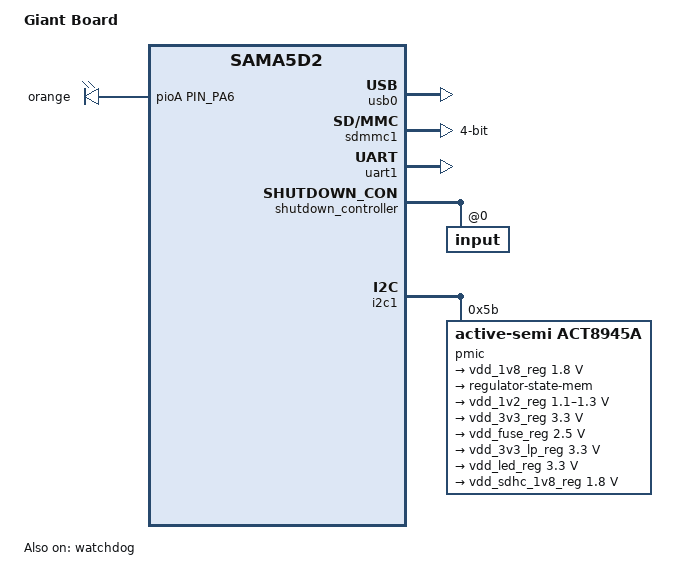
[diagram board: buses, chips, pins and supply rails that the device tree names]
// SPDX-License-Identifier: GPL-2.0-or-later OR X11
/*
 * at91-sama5d27_giantboard.dts - Device Tree file for SAMA5D27 Giant Board
 *
 *  Copyright (c) 2017, Microchip Technology Inc.
 *                2016 Nicolas Ferre <nicolas.ferre@atmel.com>
 *                2017 Cristian Birsan <cristian.birsan@microchip.com>
 *                2017 Claudiu Beznea <claudiu.beznea@microchip.com>
 *                2019 Ahmad Fatoum <a.fatoum@pengutronix.de>
 */

/dts-v1/;

#include <arm/microchip/sama5d2.dtsi>
#include <arm/microchip/sama5d2-pinfunc.h>
#include <dt-bindings/mfd/atmel-flexcom.h>
#include <dt-bindings/gpio/gpio.h>
#include <dt-bindings/regulator/active-semi,8945a-regulator.h>

#include "sama5d2.dtsi"

/ {
	model = "Giant Board";
	compatible = "groboards,sama5d27-giantboard", "atmel,sama5d27", "atmel,sama5d2", "atmel,sama5";
	barebox,disable-deep-probe;

	chosen {
		stdout-path = &uart1;

		environment {
			compatible = "barebox,environment";
			device-path = &sdmmc1;
			file-path = "barebox.env";
		};
	};

	leds {
		compatible = "gpio-leds";
		pinctrl-names = "default";
		pinctrl-0 = <&pinctrl_led_gpio_default>;

		orange {
			label = "orange";
			gpios = <&pioA PIN_PA6 GPIO_ACTIVE_HIGH>;
			linux,default-trigger = "mmc0";
		};
	};
};

&slow_xtal {
	clock-frequency = <32768>;
};

&main_xtal {
	clock-frequency = <24000000>;
};

&usb0 {
	status = "okay";
};

&sdmmc1 {
	bus-width = <4>;
	pinctrl-names = "default";
	pinctrl-0 = <&pinctrl_sdmmc1_default>;
	status = "okay";
};

&spi0 {
	pinctrl-names = "default";
	pinctrl-0 = <&pinctrl_spi0_default>;
	status = "disabled";
};

&uart1 {
	pinctrl-names = "default";
	pinctrl-0 = <&pinctrl_uart1_default>;
	atmel,use-dma-rx;
	atmel,use-dma-tx;
	status = "okay";
};

&shutdown_controller {
	atmel,shdwc-debouncer = <976>;
	atmel,wakeup-rtc-timer;

	input@0 {
		reg = <0>;
		atmel,wakeup-type = "low";
	};
};

&watchdog {
	status = "okay";
};

&i2c0 {
	pinctrl-names = "default";
	pinctrl-0 = <&pinctrl_i2c0_default>;
	dmas = <0>, <0>;
};

&i2c1 {
	pinctrl-names = "default";
	pinctrl-0 = <&pinctrl_i2c1_default>;
	dmas = <0>, <0>;
	i2c-sda-hold-time-ns = <350>;
	status = "okay";

	pmic@5b {
		compatible = "active-semi,act8945a";
		reg = <0x5b>;
		active-semi,vsel-low;

		regulators {
			vdd_1v8_reg: REG_DCDC1 {
				regulator-name = "VDD_1V8";
				regulator-min-microvolt = <1800000>;
				regulator-max-microvolt = <1800000>;
				regulator-always-on;

				regulator-allowed-modes = <ACT8945A_REGULATOR_MODE_FIXED>,
							  <ACT8945A_REGULATOR_MODE_LOWPOWER>;
				regulator-initial-mode = <ACT8945A_REGULATOR_MODE_FIXED>;

				regulator-state-mem {
					regulator-on-in-suspend;
					regulator-suspend-min-microvolt=<1850000>;
					regulator-suspend-max-microvolt=<1850000>;
					regulator-changeable-in-suspend;
					regulator-mode=<ACT8945A_REGULATOR_MODE_LOWPOWER>;
				};
			};

			vdd_1v2_reg: REG_DCDC2 {
				regulator-name = "VDD_1V2";
				regulator-min-microvolt = <1100000>;
				regulator-max-microvolt = <1300000>;
				regulator-allowed-modes = <ACT8945A_REGULATOR_MODE_FIXED>,
							  <ACT8945A_REGULATOR_MODE_LOWPOWER>;
				regulator-initial-mode = <ACT8945A_REGULATOR_MODE_FIXED>;
				regulator-always-on;

				regulator-state-mem {
					regulator-off-in-suspend;
				};
			};

			vdd_3v3_reg: REG_DCDC3 {
				regulator-name = "VDD_3V3";
				regulator-min-microvolt = <3300000>;
				regulator-max-microvolt = <3300000>;
				regulator-allowed-modes = <ACT8945A_REGULATOR_MODE_FIXED>,
							  <ACT8945A_REGULATOR_MODE_LOWPOWER>;
				regulator-initial-mode = <ACT8945A_REGULATOR_MODE_FIXED>;
				regulator-always-on;

				regulator-state-mem {
					regulator-off-in-suspend;
				};
			};

			vdd_fuse_reg: REG_LDO1 {
				regulator-name = "VDD_FUSE";
				regulator-min-microvolt = <2500000>;
				regulator-max-microvolt = <2500000>;
				regulator-allowed-modes = <ACT8945A_REGULATOR_MODE_NORMAL>,
							  <ACT8945A_REGULATOR_MODE_LOWPOWER>;
				regulator-initial-mode = <ACT8945A_REGULATOR_MODE_NORMAL>;
				regulator-always-on;

				regulator-state-mem {
					regulator-off-in-suspend;
				};
			};

			vdd_3v3_lp_reg: REG_LDO2 {
				regulator-name = "VDD_3V3_LP";
				regulator-min-microvolt = <3300000>;
				regulator-max-microvolt = <3300000>;
				regulator-allowed-modes = <ACT8945A_REGULATOR_MODE_NORMAL>,
							  <ACT8945A_REGULATOR_MODE_LOWPOWER>;
				regulator-initial-mode = <ACT8945A_REGULATOR_MODE_NORMAL>;
				regulator-always-on;

				regulator-state-mem {
					regulator-off-in-suspend;
				};
			};

			vdd_led_reg: REG_LDO3 {
				regulator-name = "VDD_LED";
				regulator-min-microvolt = <3300000>;
				regulator-max-microvolt = <3300000>;
				regulator-allowed-modes = <ACT8945A_REGULATOR_MODE_NORMAL>,
							  <ACT8945A_REGULATOR_MODE_LOWPOWER>;
				regulator-initial-mode = <ACT8945A_REGULATOR_MODE_NORMAL>;
				regulator-always-on;

				regulator-state-mem {
					regulator-off-in-suspend;
				};
			};

			vdd_sdhc_1v8_reg: REG_LDO4 {
				regulator-name = "VDD_SDHC_1V8";
				regulator-min-microvolt = <1800000>;
				regulator-max-microvolt = <1800000>;
				regulator-allowed-modes = <ACT8945A_REGULATOR_MODE_NORMAL>,
							  <ACT8945A_REGULATOR_MODE_LOWPOWER>;
				regulator-initial-mode = <ACT8945A_REGULATOR_MODE_NORMAL>;
				regulator-always-on;

				regulator-state-mem {
					regulator-off-in-suspend;
				};
			};
		};

		charger {
			compatible = "active-semi,act8945a-charger";
			pinctrl-names = "default";
			pinctrl-0 = <&pinctrl_charger_chglev &pinctrl_charger_lbo &pinctrl_charger_irq>;
			interrupt-parent = <&pioA>;
			interrupts = <PIN_PB13 IRQ_TYPE_EDGE_RISING>;

			active-semi,chglev-gpios = <&pioA PIN_PA12 GPIO_ACTIVE_HIGH>;
			active-semi,lbo-gpios = <&pioA PIN_PC8 GPIO_ACTIVE_LOW>;
			active-semi,input-voltage-threshold-microvolt = <6600>;
			active-semi,precondition-timeout = <40>;
			active-semi,total-timeout = <3>;
		};
	};
};

&adc {
	vddana-supply = <&vdd_3v3_reg>;
	vref-supply = <&vdd_3v3_reg>;
	status = "disabled";
};

&pioA {
	pinctrl_i2c0_default: i2c0_default {
		pinmux = <PIN_PB31__TWD0>,
			 <PIN_PC0__TWCK0>;
		bias-disable;
	};

	pinctrl_i2c1_default: i2c1_default {
		pinmux = <PIN_PD4__TWD1>,
			 <PIN_PD5__TWCK1>;
		bias-disable;
	};

	pinctrl_led_gpio_default: led_gpio_default {
		pinmux = <PIN_PA6__GPIO>;
		bias-pull-down;
	};

	pinctrl_sdmmc1_default: sdmmc1_default {
		cmd_data {
			pinmux = <PIN_PA28__SDMMC1_CMD>,
				 <PIN_PA18__SDMMC1_DAT0>,
				 <PIN_PA19__SDMMC1_DAT1>,
				 <PIN_PA20__SDMMC1_DAT2>,
				 <PIN_PA21__SDMMC1_DAT3>;
			bias-pull-up;
		};

		conf-ck_cd {
			pinmux = <PIN_PA22__SDMMC1_CK>,
			<PIN_PA30__SDMMC1_CD>;
			bias-disable;
		};
	};

	pinctrl_spi0_default: spi0_default {
		pinmux = <PIN_PA14__SPI0_SPCK>,
			 <PIN_PA15__SPI0_MOSI>,
			 <PIN_PA16__SPI0_MISO>;
		bias-disable;
	};

	pinctrl_uart1_default: uart1_default {
		pinmux = <PIN_PD2__URXD1>,
			 <PIN_PD3__UTXD1>;
		bias-disable;
	};

	pinctrl_charger_chglev: charger_chglev {
		pinmux = <PIN_PA12__GPIO>;
		bias-disable;
	};

	pinctrl_charger_irq: charger_irq {
		pinmux = <PIN_PB13__GPIO>;
		bias-disable;
	};

	pinctrl_charger_lbo: charger_lbo {
		pinmux = <PIN_PC8__GPIO>;
		bias-pull-up;
	};
};
